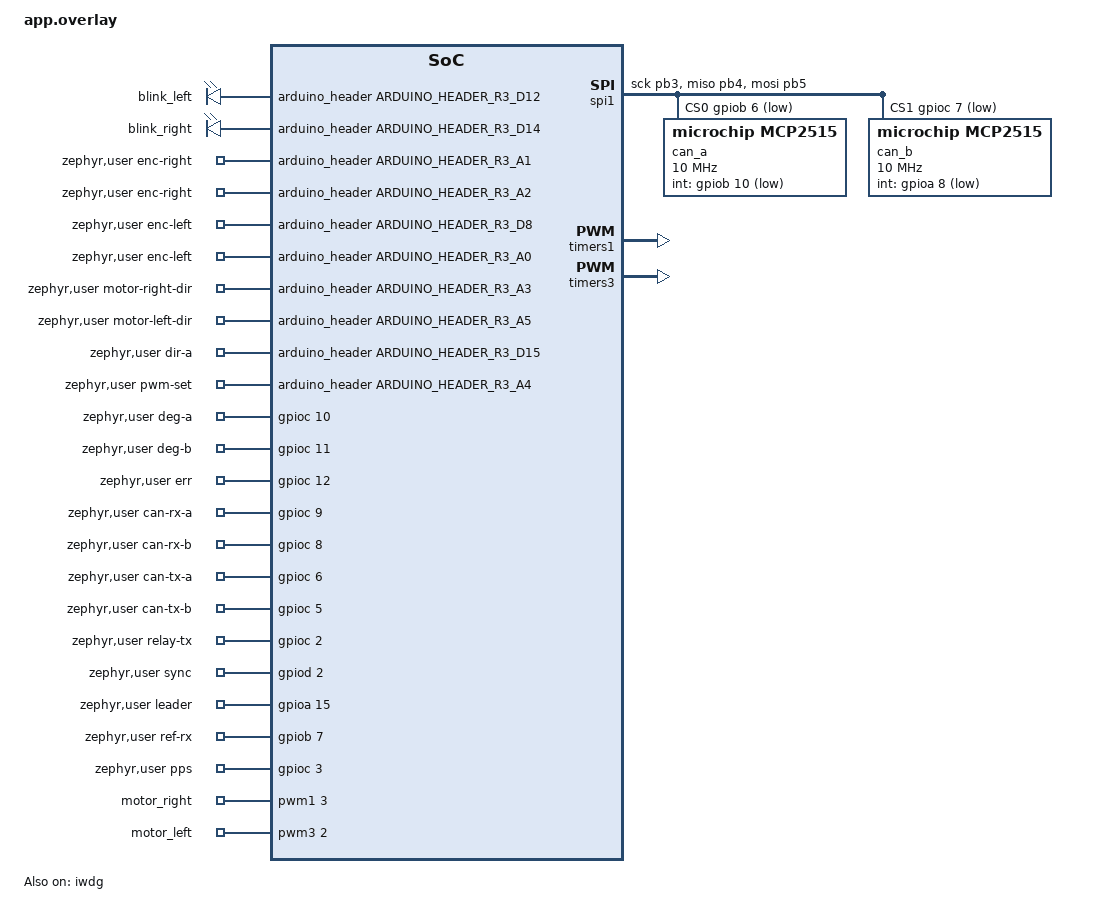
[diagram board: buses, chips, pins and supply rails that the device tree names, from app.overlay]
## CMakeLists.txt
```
cmake_minimum_required(VERSION 3.20.0)
find_package(Zephyr REQUIRED HINTS $ENV{ZEPHYR_BASE})
project(stm32_rear)

# N3, the drivetrain zone
target_compile_definitions(app PRIVATE NODE_ID=3)

# LEADER=random etc. for checkoff: west build-<front|rear> -p -- -DRAFT_DEFAULT_LEADER=0 (see raft_config.h)
foreach(opt RAFT_DEFAULT_LEADER RAFT_SEED)
	if(DEFINED ${opt})
		target_compile_definitions(app PRIVATE ${opt}=${${opt}})
	endif()
endforeach()

set(COMMON ${CMAKE_CURRENT_SOURCE_DIR}/../stm32-common)

target_sources(app PRIVATE src/main.c src/drive.c src/motor.c src/encoder.c ${COMMON}/src/canbus.c ${COMMON}/src/relay.c
	${COMMON}/src/ctrl.c ${COMMON}/src/errorstate.c ${COMMON}/src/blinker.c
	${COMMON}/src/globaltime.c ${COMMON}/src/raftlog.c ${COMMON}/src/raftnode.c ${COMMON}/src/raft.c)
target_include_directories(app PRIVATE include ${COMMON}/include)
```

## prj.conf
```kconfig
CONFIG_GPIO=y
CONFIG_PWM=y
CONFIG_CAN=y
CONFIG_CRC=y
CONFIG_WATCHDOG=y

# Debug: print the reset cause at boot (was it the watchdog?)
CONFIG_HWINFO=y

# Hardware floats for the PID; sharing so any thread may use them safely
CONFIG_FPU=y
CONFIG_FPU_SHARING=y

# main only does init and test prints: keep it below every app thread (1-3)
CONFIG_MAIN_THREAD_PRIORITY=10

# One MCP2515 filter per received CAN ID (canbus.c MAX_HANDLERS)
CONFIG_CAN_MCP2515_MAX_FILTERS=24

# 1 us ticks: clock_settime/gettime count in ticks, and 100 us (the default) is too coarse for sync
CONFIG_SYS_CLOCK_TICKS_PER_SEC=1000000
```

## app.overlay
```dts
/*
 * N3 (rear, drivetrain) pin assignments for the Nucleo-F401RE.
 *
 * The CAN wiring is the same as the front node (stm32-front/app.overlay), so
 * both boards are wired the same way and stm32-can-test runs on either.
 * Lab 2 pins that sat on CAN pins were moved:
 *   left motor PWM D4 -> D11, motor dirs D3/D5 -> A3/A5, RL D11 -> D12,
 *   RR D10 -> D14, encoders D6/D7/D9 -> A0/A1/A2 (left A stays on D8).
 *
 * Pitfalls:
 * - The board file already gives many header pins to SPI/I2C/UART/PWM/ADC.
 *   The build does NOT flag two users of one pin; the last driver to set it
 *   wins. Before enabling a board peripheral, check its pins against this file.
 * - GPIOs use Arduino names (D2, A5); PWM pinctrl uses MCU names (PA10).
 *   Both refer to the same pins.
 * - STM32 has one EXTI line per pin number across all ports, so interrupt
 *   pins must all have different numbers. In use: CAN INT 10 and 8,
 *   encoders 9, 0, 1, 4, test button 13.
 * - The KiCad symbol calls D14/D15 "SDA/A4" and "SCL/A5". On the Nucleo they
 *   are PB9/PB8, separate from A4/A5 (PC1/PC0).
 */

/ {
	aliases {
		can-a = &can_a;
		can-b = &can_b;
	};
};

/* Both MCP2515s on SPI1, moved to D3-D5 to free D11-D13 */
&spi1 {
	status = "okay";
	pinctrl-0 = <&spi1_sck_pb3 &spi1_miso_pb4 &spi1_mosi_pb5>;	/* D3, D5, D4 */
	pinctrl-names = "default";

	/* Entry 0 -> reg <0>, entry 1 -> reg <1> */
	cs-gpios = <&gpiob 6 (GPIO_ACTIVE_LOW | GPIO_PULL_UP)>,	/* D10: CAN A CS */
		   <&gpioc 7 (GPIO_ACTIVE_LOW | GPIO_PULL_UP)>;	/* D9:  CAN B CS */

	can_a: mcp2515@0 {
		compatible = "microchip,mcp2515";
		reg = <0>;
		spi-max-frequency = <10000000>;
		int-gpios = <&gpiob 10 GPIO_ACTIVE_LOW>;	/* D6 */
		osc-freq = <16000000>;
		bitrate = <500000>;
		status = "okay";
	};

	can_b: mcp2515@1 {
		compatible = "microchip,mcp2515";
		reg = <1>;
		spi-max-frequency = <10000000>;
		int-gpios = <&gpioa 8 GPIO_ACTIVE_LOW>;		/* D7 */
		osc-freq = <16000000>;
		bitrate = <500000>;
		status = "okay";
	};
};

/* Board peripherals that claim pins we use */
&usart1 {	/* D10 */
	status = "disabled";
};

&pwm2 {		/* D13 */
	status = "disabled";
};

&i2c1 {		/* D14, D15 */
	status = "disabled";
};

&i2c3 {		/* D7 */
	status = "disabled";
};

&adc1 {		/* A0 */
	status = "disabled";
};

/* Right motor PWM: D2 = PA10 (L298N IN1) */
&timers1 {
	status = "okay";

	pwm1: pwm {
		status = "okay";
		pinctrl-0 = <&tim1_ch3_pa10>;
		pinctrl-names = "default";
	};
};

/* Left motor PWM: D11 = PA7 (L298N IN3), same timer channel as before */
&timers3 {
	status = "okay";

	pwm3: pwm {
		status = "okay";
		pinctrl-0 = <&tim3_ch2_pa7>;
		pinctrl-names = "default";
	};
};

/ {
	/* pin -> 4.7k -> LED -> GND, so high = on */
	blinkers {
		compatible = "gpio-leds";

		blink_left: blink_rl {
			gpios = <&arduino_header ARDUINO_HEADER_R3_D12 GPIO_ACTIVE_HIGH>;
		};

		blink_right: blink_rr {
			gpios = <&arduino_header ARDUINO_HEADER_R3_D14 GPIO_ACTIVE_HIGH>;
		};
	};

	zephyr,user {
		/* <A>, <B> */
		enc-right-gpios = <&arduino_header ARDUINO_HEADER_R3_A1 GPIO_ACTIVE_HIGH>,
				  <&arduino_header ARDUINO_HEADER_R3_A2 GPIO_ACTIVE_HIGH>;
		enc-left-gpios = <&arduino_header ARDUINO_HEADER_R3_D8 GPIO_ACTIVE_HIGH>,
				 <&arduino_header ARDUINO_HEADER_R3_A0 GPIO_ACTIVE_HIGH>;

		/* L298N IN2, IN4 (ENA/ENB tied high) */
		motor-right-dir-gpios = <&arduino_header ARDUINO_HEADER_R3_A3 GPIO_ACTIVE_HIGH>;
		motor-left-dir-gpios = <&arduino_header ARDUINO_HEADER_R3_A5 GPIO_ACTIVE_HIGH>;

		/* Test points */
		dir-a-gpios = <&arduino_header ARDUINO_HEADER_R3_D15 GPIO_ACTIVE_HIGH>;
		pwm-set-gpios = <&arduino_header ARDUINO_HEADER_R3_A4 GPIO_ACTIVE_HIGH>;

		/* Arduino header is full: morpho CN7 pins 1-3 */
		deg-a-gpios = <&gpioc 10 GPIO_ACTIVE_HIGH>;
		deg-b-gpios = <&gpioc 11 GPIO_ACTIVE_HIGH>;
		err-gpios = <&gpioc 12 GPIO_ACTIVE_HIGH>;

		/* Morpho CN10 pins 1, 2, 4, 6 */
		can-rx-a-gpios = <&gpioc 9 GPIO_ACTIVE_HIGH>;
		can-rx-b-gpios = <&gpioc 8 GPIO_ACTIVE_HIGH>;
		can-tx-a-gpios = <&gpioc 6 GPIO_ACTIVE_HIGH>;
		can-tx-b-gpios = <&gpioc 5 GPIO_ACTIVE_HIGH>;

		/* Morpho CN7 pin 35 */
		relay-tx-gpios = <&gpioc 2 GPIO_ACTIVE_HIGH>;

		/* Lab 5, morpho CN7 pins 4, 17, 21, 37 (same on both nodes) */
		sync-gpios = <&gpiod 2 GPIO_ACTIVE_HIGH>;
		leader-gpios = <&gpioa 15 GPIO_ACTIVE_HIGH>;
		ref-rx-gpios = <&gpiob 7 GPIO_ACTIVE_HIGH>;
		pps-gpios = <&gpioc 3 GPIO_ACTIVE_HIGH>;

		/* Motor period (20 kHz) is a placeholder */
		pwms = <&pwm1 3 PWM_USEC(50) PWM_POLARITY_NORMAL>,
		       <&pwm3 2 PWM_USEC(50) PWM_POLARITY_NORMAL>;
		pwm-names = "motor_right", "motor_left";
	};
};

&iwdg {
	status = "okay";
};
```

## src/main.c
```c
#include <errno.h>

#include <zephyr/kernel.h>
#include <zephyr/sys/printk.h>

#include "blinker.h"
#include "canbus.h"
#include "ctrl.h"
#include "drive.h"
#include "errorstate.h"
#include "globaltime.h"
#include "raft.h"
#include "relay.h"

#define BRAKE_THRESHOLD 10	/* brake above 10% counts as pressed */

static void on_ctrl(const struct can_frame *f)
{
	struct ctrl c;
	int ret = ctrl_parse(f, &c);

	if (ret == -ERANGE) {
		errorstate_bad_ctrl();
	}
	if (ret != 0) {
		return;
	}

	/* First, so the drive has left the error state */
	errorstate_ctrl_ok();
	drive_command(c.throttle, c.brake > BRAKE_THRESHOLD);
}

int main(void)
{
	if (drive_init() != 0 || errorstate_init(drive_set_error) != 0 ||
	    blinker_init() != 0 || relay_init() != 0 || globaltime_init() != 0 ||
	    raft_init() != 0 ||
	    canbus_on(CAN_ID_CTRL, on_ctrl) != 0 || canbus_init() != 0) {
		printk("init failed\n");
		return 1;
	}

	return 0;
}
```
